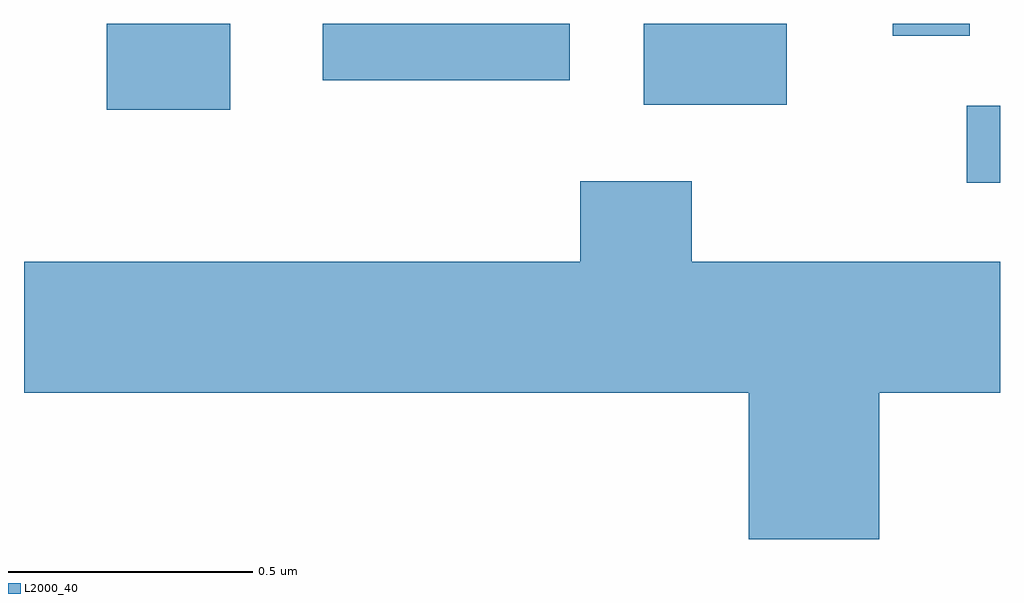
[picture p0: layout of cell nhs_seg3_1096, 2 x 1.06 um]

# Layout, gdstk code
import gdstk
lib = gdstk.Library(unit=1e-6, precision=1e-09)
def R(c, l, rs):  # rectangles x0, y0, x1, y1
    for r in rs: c.add(gdstk.rectangle(r[:2], r[2:], *l))
def P(c, l, *ps):  # polygons
    for p in ps: c.add(gdstk.Polygon(p, *l))
L2000_40 = (2000, 40)

nhs_seg3_1096 = lib.new_cell('nhs_seg3_1096')
R(nhs_seg3_1096, L2000_40, [(195.543,1117.566,195.611,1117.724), (193.781,1117.716,194.034,1117.892), (194.881,1117.726,195.174,1117.892), (194.223,1117.776,194.729,1117.892), (195.391,1117.868,195.549,1117.892)])
P(nhs_seg3_1096, L2000_40, [(195.364,1117.136),(195.611,1117.136),(195.611,1117.404),(194.979,1117.404),(194.979,1117.569),(194.751,1117.569),(194.751,1117.404),(193.611,1117.404),(193.611,1117.136),(195.096,1117.136),(195.096,1116.836),(195.364,1116.836)])

lib.write_gds('nhs_seg3_1096.gds')
